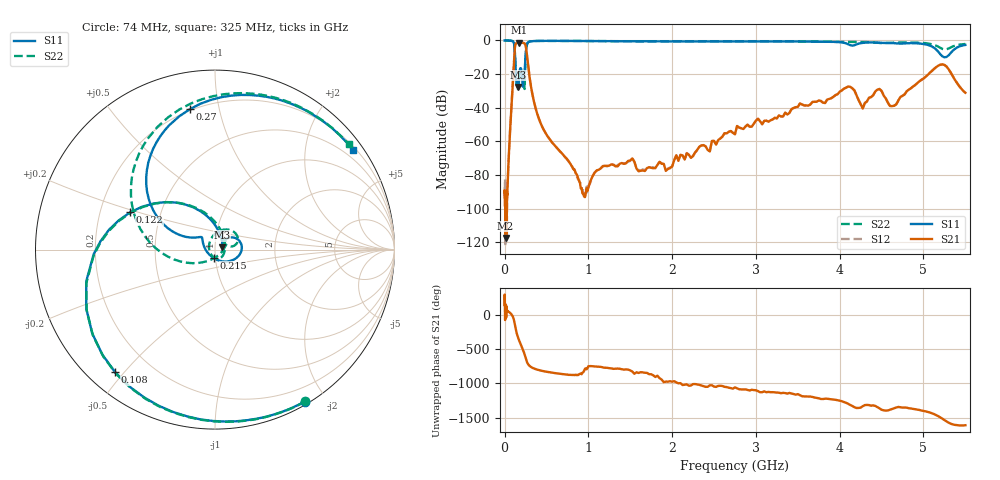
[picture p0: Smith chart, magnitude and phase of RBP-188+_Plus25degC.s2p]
! Mini-Circuits
! S2P DATA File Format
! Type: BAND PASS FILTER
! Model: RBP-188+
! All S Parameters are in dB deg format
! TEST CONDITIONS: INPUT POWER = 0 dBm @ Temperature = +25deg C
! 500 Frequency points
# MHz S dB R 50
!Frequency  S11 dB  S11 DEG  S21 dB  S21 DEG  S12 dB  S12 DEG  S22 dB  S22 DEG
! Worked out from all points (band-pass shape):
!   500 points, 1 MHz to 5.5 GHz, reference 50 ohm
!   highest |S21| = -1.25 dB at 169 MHz (marker M1); lowest = -117.5 dB at 12 MHz (marker M2)
!   |S21| within 3 dB of the highest: 123.4 MHz to 256.3 MHz (132.8 MHz wide, 70 % of centre)
!   lowest |S11| = -27.7 dB at 161 MHz (marker M3), VSWR 1.09, Z = 54.1 + j1.36 ohm
!   |S11| at or under -10 dB: 126.6 MHz to 250 MHz (123.4 MHz wide, 65.5 % of centre); 5.249153 GHz to 5.2525 GHz (3.347 MHz wide, 0.0638 % of centre)
!   |S22| runs from -30.0 to 0.0 dB; largest |S21 - S12| = 0.001
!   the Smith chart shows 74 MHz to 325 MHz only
!   S11 on the Smith chart (normalised r, x): 74 MHz: 0.03, -1.75; 108 MHz: 0.08, -0.47; 122 MHz: 0.33, +0.19; 215 MHz: 0.98, -0.09; 270 MHz: 0.19, +0.82; 325 MHz: 0.28, +3.08
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1  0.00 -0.7  -90.54 147.6  -89.65 32.7  0.00 -0.7
12  0.00 -7.8  -117.51 133.4  -104.97 134.4  0.00 -7.8
40  -0.03 -27.3  -81.38 51.9  -80.87 58.5  -0.03 -27.3
74  -0.14 -59.4  -46.79 22.4  -46.80 22.5  -0.14 -59.2
108  -1.10 -129.2  -16.41 -52.1  -16.42 -52.1  -1.06 -128.3
122  -5.75 156.3  -4.96 -132.2  -4.96 -132.2  -5.81 156.3
142  -24.96 40.8  -1.56 108.2  -1.56 108.3  -25.34 -17.8
161  -27.73 17.8  -1.28 33.1  -1.28 33.1  -29.50 -136.6
169  -24.08 43.4  -1.25 5.8  -1.25 5.8  -26.25 128.8
215  -26.44 -99.2  -1.34 -133.7  -1.34 -133.7  -23.20 20.1
239  -18.51 144.9  -1.77 147.8  -1.77 147.8  -28.88 -45.9
247  -12.55 157.4  -2.33 116.2  -2.33 116.2  -15.20 -155.1
270  -2.00 100.2  -9.85 27.3  -9.85 27.4  -2.14 109.6
325  -0.46 35.8  -30.00 -46.2  -29.99 -46.2  -0.46 38.2
510  -0.24 -24.1  -56.74 -111.5  -56.69 -111.5  -0.24 -23.5
920  -0.32 -88.6  -87.77 -145.7  -87.31 -134.7  -0.32 -88.2
1850  -0.54 158.6  -72.17 156.8  -72.31 155.1  -0.51 159.6
2775  -0.55 58.4  -50.90 8.4  -50.89 8.5  -0.55 59.6
3675  -0.69 -39.6  -36.56 -118.3  -36.57 -118.4  -0.65 -37.6
4600  -1.54 -149.4  -38.99 55.1  -38.97 55.0  -1.40 -145.7
5200  -8.15 117.0  -14.44 -56.1  -14.44 -56.1  -4.38 128.8
5500  -2.66 124.8  -31.10 -171.7  -31.09 -171.7  -2.09 111.3
